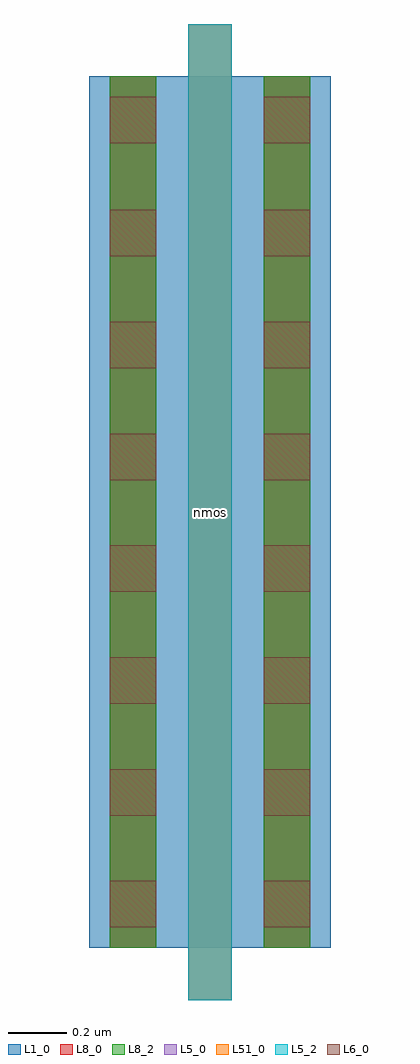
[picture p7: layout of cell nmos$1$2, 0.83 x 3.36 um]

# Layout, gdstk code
import gdstk
lib = gdstk.Library(unit=1e-6, precision=5e-09)
def R(c, l, rs):  # rectangles x0, y0, x1, y1
    for r in rs: c.add(gdstk.rectangle(r[:2], r[2:], *l))
def A(c, l, x, y, w, h, nx, ny, dx, dy):  # array of equal rectangles
    R(c, l, [(x+i*dx, y+j*dy, x+i*dx+w, y+j*dy+h) for i in range(nx) for j in range(ny)])
L1_0 = (1, 0)
L5_0 = (5, 0)
L5_2 = (5, 2)
L6_0 = (6, 0)
L8_0 = (8, 0)
L8_2 = (8, 2)
L51_0 = (51, 0)

nmos_1_2 = lib.new_cell('nmos$1$2')
R(nmos_1_2, L1_0, [(0,0,0.3,0.3), (0,0,0.83,3), (0.53,0,0.83,0.3)])
R(nmos_1_2, L5_0, [(0.34,-0.18,0.49,3.18)])
R(nmos_1_2, L5_2, [(0.34,-0.18,0.49,3.18)])
A(nmos_1_2, L6_0, 0.07, 0.07, 0.16, 0.16, 1, 7, 0, 0.385)
A(nmos_1_2, L6_0, 0.6, 0.07, 0.16, 0.16, 1, 7, 0, 0.385)
R(nmos_1_2, L6_0, [(0.07,2.77,0.23,2.93), (0.6,2.77,0.76,2.93)])
R(nmos_1_2, L8_0, [(0.07,0,0.23,3), (0.6,0,0.76,3)])
R(nmos_1_2, L8_2, [(0.07,0,0.23,3), (0.6,0,0.76,3)])
R(nmos_1_2, L51_0, [(0.34,-0.18,0.49,3.18)])
nmos_1_2.add(gdstk.Label('nmos', (0.415,1.5), layer=63, texttype=0))
nmos_1_2.add(gdstk.Label('nmos', (0.415,1.5), layer=51, texttype=0))

lib.write_gds('nmos_1_2.gds')
